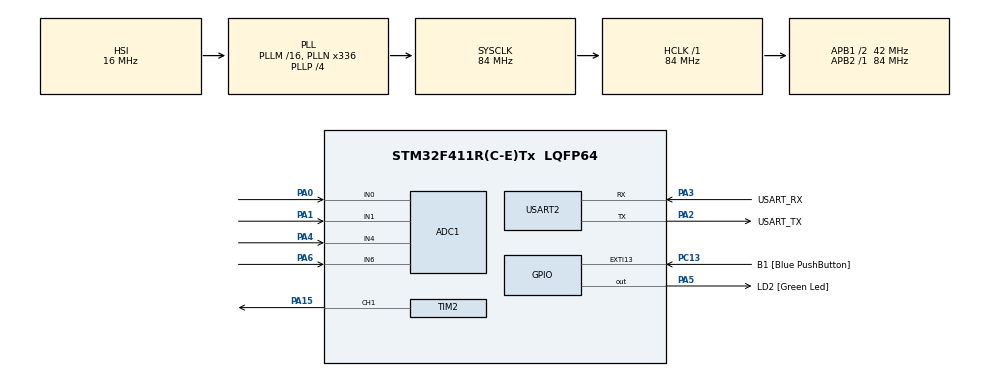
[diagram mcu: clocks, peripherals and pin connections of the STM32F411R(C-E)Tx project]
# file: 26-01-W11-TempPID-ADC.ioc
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ADC1.Channel-0\#ChannelRegularConversion=ADC_CHANNEL_6
ADC1.NbrOfConversionFlag=1
ADC1.Rank-0\#ChannelRegularConversion=1
ADC1.SamplingTime-0\#ChannelRegularConversion=ADC_SAMPLETIME_144CYCLES
ADC1.master=1
Mcu.Family=STM32F4
Mcu.Name=STM32F411R(C-E)Tx
Mcu.Package=LQFP64
NVIC.PriorityGroup=NVIC_PRIORITYGROUP_0
NVIC.USART2_IRQn=true\:0\:0\:true\:false\:true\:true\:true\:false
PA0-WKUP.Signal=ADCx_IN0
PA1.Signal=ADCx_IN1
PA13.GPIO_Label=TMS
PA13.Mode=Serial_Wire
PA13.Signal=SYS_JTMS-SWDIO
PA14.GPIO_Label=TCK
PA14.Mode=Serial_Wire
PA14.Signal=SYS_JTCK-SWCLK
PA15.Signal=S_TIM2_CH1_ETR
PA2.GPIO_Label=USART_TX
PA2.Mode=Asynchronous
PA2.Signal=USART2_TX
PA3.GPIO_Label=USART_RX
PA3.Mode=Asynchronous
PA3.Signal=USART2_RX
PA4.Signal=ADCx_IN4
PA5.GPIO_Label=LD2 [Green Led]
PA5.Signal=GPIO_Output
PA6.Signal=ADCx_IN6
PB3.GPIO_Label=SWO
PB3.Signal=SYS_JTDO-SWO
PC13-ANTI_TAMP.GPIO_Label=B1 [Blue PushButton]
PC13-ANTI_TAMP.GPIO_ModeDefaultEXTI=GPIO_MODE_IT_FALLING
PC13-ANTI_TAMP.Signal=GPXTI13
PC14-OSC32_IN.Mode=LSE-External-Oscillator
PC14-OSC32_IN.Signal=RCC_OSC32_IN
PC15-OSC32_OUT.Mode=LSE-External-Oscillator
PC15-OSC32_OUT.Signal=RCC_OSC32_OUT
PH0\ -\ OSC_IN.Mode=HSE-External-Clock-Source
PH0\ -\ OSC_IN.Signal=RCC_OSC_IN
PH1\ -\ OSC_OUT.Mode=HSE-External-Clock-Source
PH1\ -\ OSC_OUT.Signal=RCC_OSC_OUT
ProjectManager.HeapSize=0x200
ProjectManager.StackSize=0x400
ProjectManager.TargetToolchain=CMake
RCC.48MHZClocksFreq_Value=84000000
RCC.AHBFreq_Value=84000000
RCC.APB1CLKDivider=RCC_HCLK_DIV2
RCC.APB1Freq_Value=42000000
RCC.APB1TimFreq_Value=84000000
RCC.APB2Freq_Value=84000000
RCC.APB2TimFreq_Value=84000000
RCC.CortexFreq_Value=84000000
RCC.FLatency-AdvancedSettings=FLASH_LATENCY_2
RCC.HCLKFreq_Value=84000000
RCC.HSE_VALUE=8000000
RCC.HSI_VALUE=16000000
RCC.PLLN=336
RCC.PLLP=RCC_PLLP_DIV4
RCC.SYSCLKFreq_VALUE=84000000
RCC.SYSCLKSource=RCC_SYSCLKSOURCE_PLLCLK
RCC.VCOOutputFreq_Value=336000000
SH.ADCx_IN0.0=ADC1_IN0,IN0
SH.ADCx_IN1.0=ADC1_IN1,IN1
SH.ADCx_IN4.0=ADC1_IN4,IN4
SH.ADCx_IN6.0=ADC1_IN6,IN6
SH.S_TIM2_CH1_ETR.0=TIM2_CH1,PWM Generation1 CH1
TIM2.Channel-PWM\ Generation1\ CH1=TIM_CHANNEL_1
TIM2.Prescaler=8400-1
USART2.VirtualMode=VM_ASYNC
VP_TIM2_VS_ClockSourceINT.Mode=Internal
board=NUCLEO-F411RE

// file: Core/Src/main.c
/* USER CODE BEGIN Header */
/**
  * @file main.c
  * @brief TMP235 온도 측정, 부저 멜로디 재생, PID PWM 제어를 통합한 메인 애플리케이션
  * @date 2026-05-08
  * @author JeongWhan Lee
  *
  * @details
  * 본 파일은 STM32F411 기반 보드에서 다음 기능을 단일 루프 구조로 수행한다.
  * - USART2 명령 수신 및 명령어 파싱
  * - TIM2 PWM을 이용한 부저 출력 주파수 제어
  * - ADC1과 TMP235 센서를 이용한 온도 측정 및 이동 평균 필터 적용
  * - 목표 온도 기준 PID 제어값 계산 및 PWM 듀티 출력
  * - 현재 동작 상태를 텍스트 또는 CSV 형식으로 UART에 주기적으로 보고
  *
  * 동작 모드는 멜로디 재생, PID 제어, 온도 모니터링, 정지 상태로 구성되며,
  * UART 명령을 통해 모드 전환과 PID 계수/목표 온도 변경이 가능하다.
  *
  * @note 자동 생성 영역과 사용자 코드 영역이 혼합되어 있으므로,
  *       기능 변경 시 USER CODE 블록 보존 여부를 함께 확인해야 한다.
  */
/* USER CODE END Header */
#include "main.h"

/* USER CODE BEGIN Includes */
#include <ctype.h>
#include <stdio.h>
#include <string.h>

/* USER CODE END Includes */

/* USER CODE BEGIN PTD */
/**
  * @brief 애플리케이션 실행 모드 정의
  * @details 메인 루프에서 현재 어떤 작업을 수행할지 결정하는 상태값이다.
  */
typedef enum
{
  APP_MODE_IDLE = 0,
  APP_MODE_MELODY,
  APP_MODE_PID,
  APP_MODE_TEMP
} AppMode_t;

/* USER CODE END PTD */

/* USER CODE BEGIN PD */

/* 부저 재생 및 UART/ADC 처리에 사용되는 기본 상수 정의 */

#define BUZZER_TIMER_TICK_HZ 10000U
#define BUZZER_NOTE_MS       1000U
#define BUZZER_GAP_MS        100U
#define UART_CMD_BUF_LEN     64U
#define UART_RX_QUEUE_LEN    64U
#define ADC_MOVING_AVG_SAMPLES 8U

#define TMP235_OFFSET_V         0.5f
#define TMP235_SLOPE_V_PER_C    0.01f
#define ADC_VREF_V              3.3f
#define ADC_MAX_COUNT           4095.0f

#define PID_SETPOINT_DEFAULT_C  25.0f
#define PID_CONTROL_MS          50U
#define PID_PWM_FREQ_HZ         20U

/* USER CODE END PD */

ADC_HandleTypeDef hadc1;

TIM_HandleTypeDef htim2;

UART_HandleTypeDef huart2;

/* USER CODE BEGIN PV */
/* 상태 LED 점멸 주기 관리를 위한 기준 시각 */
uint32_t led_toggle_time = 0;
/* 도레미 3음 재생용 주파수 테이블 */
const uint16_t melody_freq_hz[3] = {262U, 294U, 330U};
/* 현재 재생 중인 음계 인덱스 */
uint8_t melody_index = 0;
/* 0: 음 출력 구간, 1: 음과 음 사이 공백 구간 */
uint8_t melody_phase = 0;
/* 마지막 멜로디 상태 전환 시각 */
uint32_t melody_tick = 0;
/* UART 인터럽트로 수신한 1바이트 임시 저장 버퍼 */
uint8_t uart_rx_byte = 0U;
/* 명령어 한 줄을 조합하기 위한 문자열 버퍼 */
char uart_cmd_buf[UART_CMD_BUF_LEN] = {0};
/* 현재 명령 버퍼에 저장된 문자 수 */
uint8_t uart_cmd_idx = 0U;
/* 인터럽트와 메인 루프 사이의 UART 수신 바이트 큐 */
volatile uint8_t uart_rx_queue[UART_RX_QUEUE_LEN] = {0};
volatile uint16_t uart_rx_q_head = 0U;
volatile uint16_t uart_rx_q_tail = 0U;
/* 큐가 가득 찼을 때 누락된 바이트 수 카운터 */
volatile uint32_t uart_rx_q_overflow = 0U;

/* 전원 인가 후 기본 동작은 멜로디 재생 모드로 시작한다. */
AppMode_t app_mode = APP_MODE_MELODY;
/* 현재 PWM 주기의 ARR 값을 저장하여 듀티 계산에 재사용한다. */
uint32_t pwm_arr_current = 0U;

/* PID 제어 관련 파라미터와 최근 계산 결과 저장 변수 */
float pid_setpoint_c = PID_SETPOINT_DEFAULT_C;
float pid_kp = 8.0f;
float pid_ki = 0.12f;
float pid_kd = 1.2f;
float pid_integral = 0.0f;
float pid_prev_error = 0.0f;
float pid_last_temp_c = 0.0f;
float pid_last_output = 0.0f;
uint16_t pid_last_adc_raw = 0U;
uint32_t pid_last_tick = 0U;
uint32_t pid_report_tick = 0U;
uint32_t temp_report_tick = 0U;
/* 0이면 사람이 읽기 쉬운 텍스트, 1이면 시리얼 플로터용 CSV 출력 */
uint8_t pid_cv_csv_mode = 0U;
/* USER CODE END PV */

void SystemClock_Config(void);
static void MX_GPIO_Init(void);
static void MX_USART2_UART_Init(void);
static void MX_ADC1_Init(void);
static void MX_TIM2_Init(void);
/* USER CODE BEGIN PFP */
static void Buzzer_SetFrequency(uint32_t freq_hz);
static void Buzzer_Stop(void);
static void UART_ProcessCommand(void);
static uint8_t UART_RxQueuePush(uint8_t data);
static uint8_t UART_RxQueuePop(uint8_t *data);
static void PWM_SetFrequency(uint32_t freq_hz);
static void PWM_SetDutyPercent(float duty_percent);
static uint16_t ADC_ReadChannel(uint32_t channel);
static float TMP235_ReadTempC(void);
static void EnterMelodyMode(void);
static void EnterPidMode(void);
static void EnterTempMode(void);
static void EnterIdleMode(void);
static void PID_Update(void);
static uint8_t PID_ParseSetpointCommand(const char *cmd, float *setpoint_out);
static uint8_t PID_ParseFloatToken(const char **p_inout, float *value_out);
static uint8_t PID_ParseCoeffCommand(const char *cmd,
                                     uint8_t *target_out,
                                     float *value_out,
                                     uint8_t *has_value_out,
                                     uint8_t *is_all_out,
                                     float *all_kp_out,
                                     float *all_ki_out,
                                     float *all_kd_out);
static const char *AppModeToString(AppMode_t mode);
static void UART_PrintCurrentStatus(void);
int __io_putchar(int ch);

/* USER CODE END PFP */

/* USER CODE BEGIN 0 */
/**
  * @brief 부저 출력 주파수를 설정한다.
  * @param freq_hz 출력 주파수 [Hz], 0이면 출력을 정지한다.
  * @details TIM2 PWM 주기를 갱신한 뒤 50% 듀티를 적용하여 사각파를 만든다.
  */
static void Buzzer_SetFrequency(uint32_t freq_hz)
{
  if (freq_hz == 0U)
  {
    Buzzer_Stop();
    return;
  }

  PWM_SetFrequency(freq_hz);
  PWM_SetDutyPercent(50.0f);
}

/**
  * @brief PWM 주파수를 설정한다.
  * @param freq_hz 목표 주파수 [Hz]
  * @details BUZZER_TIMER_TICK_HZ를 기준으로 ARR 값을 계산하고,
  *          타이머 카운터를 초기화하여 즉시 새로운 주파수를 반영한다.
  */
static void PWM_SetFrequency(uint32_t freq_hz)
{
  uint32_t arr;

  if (freq_hz == 0U)
  {
    return;
  }

  arr = (BUZZER_TIMER_TICK_HZ / freq_hz);
  if (arr > 0U)
  {
    arr -= 1U;
  }
  if (arr < 1U)
  {
    arr = 1U;
  }

  pwm_arr_current = arr;
  __HAL_TIM_SET_AUTORELOAD(&htim2, arr);
  __HAL_TIM_SET_COUNTER(&htim2, 0U);
  /* Update 이벤트를 강제로 발생시켜 새 ARR 값이 바로 적용되도록 한다. */
  (void)HAL_TIM_GenerateEvent(&htim2, TIM_EVENTSOURCE_UPDATE);
}

/**
  * @brief PWM 듀티비를 백분율 단위로 설정한다.
  * @param duty_percent 듀티비 [%]
  * @details 입력값을 0~100 범위로 제한한 뒤 CCR 값을 계산하여 PWM 출력 세기를 바꾼다.
  */
static void PWM_SetDutyPercent(float duty_percent)
{
  uint32_t compare;

  if (duty_percent < 0.0f)
  {
    duty_percent = 0.0f;
  }
  if (duty_percent > 100.0f)
  {
    duty_percent = 100.0f;
  }

  if (duty_percent >= 100.0f)
  {
    /* PWM 모드에서 CCR이 ARR보다 크면 출력이 계속 High 상태를 유지한다. */
    compare = pwm_arr_current + 1U;
  }
  else
  {
    /* ARR 범위에 맞는 CCR 값을 계산해 평균 출력 비율을 맞춘다. */
    compare = (uint32_t)(((float)(pwm_arr_current + 1U) * duty_percent) / 100.0f);
    if (compare > pwm_arr_current)
    {
      compare = pwm_arr_current;
    }
  }

  __HAL_TIM_SET_COMPARE(&htim2, TIM_CHANNEL_1, compare);
}

/**
  * @brief 부저 출력을 정지한다.
  * @details 주파수 설정은 유지하되 듀티를 0%로 만들어 실제 출력을 끈다.
  */
static void Buzzer_Stop(void)
{
  PWM_SetDutyPercent(0.0f);
}

/**
  * @brief printf 출력을 USART2로 리다이렉션한다.
  * @param ch 전송할 문자
  * @return 전송한 문자 값
  */
int __io_putchar(int ch)
{
  uint8_t c = (uint8_t)ch;
  (void)HAL_UART_Transmit(&huart2, &c, 1U, HAL_MAX_DELAY);
  return ch;
}

/**
  * @brief UART 수신 큐에 1바이트를 저장한다.
  * @param data 저장할 수신 데이터
  * @retval 1 저장 성공
  * @retval 0 큐 포화로 저장 실패
  */
static uint8_t UART_RxQueuePush(uint8_t data)
{
  uint16_t next = (uint16_t)((uart_rx_q_head + 1U) % UART_RX_QUEUE_LEN);

  if (next == uart_rx_q_tail)
  {
    uart_rx_q_overflow++;
    return 0U;
  }

  uart_rx_queue[uart_rx_q_head] = data;
  uart_rx_q_head = next;
  return 1U;
}

/**
  * @brief UART 수신 큐에서 1바이트를 꺼낸다.
  * @param data 꺼낸 데이터를 저장할 포인터
  * @retval 1 데이터 존재
  * @retval 0 큐 비어 있음
  */
static uint8_t UART_RxQueuePop(uint8_t *data)
{
  if (uart_rx_q_head == uart_rx_q_tail)
  {
    return 0U;
  }

  *data = uart_rx_queue[uart_rx_q_tail];
  uart_rx_q_tail = (uint16_t)((uart_rx_q_tail + 1U) % UART_RX_QUEUE_LEN);
  return 1U;
}

/**
  * @brief 지정한 ADC 채널을 1회 변환하여 raw 값을 읽는다.
  * @param channel 읽을 ADC 채널 번호
  * @return 12비트 ADC raw 값, 실패 시 0
  */
static uint16_t ADC_ReadChannel(uint32_t channel)
{
  ADC_ChannelConfTypeDef sConfig = {0};

  sConfig.Channel = channel;
  sConfig.Rank = 1;
  sConfig.SamplingTime = ADC_SAMPLETIME_144CYCLES;
  if (HAL_ADC_ConfigChannel(&hadc1, &sConfig) != HAL_OK)
  {
    return 0U;
  }

  if (HAL_ADC_Start(&hadc1) != HAL_OK)
  {
    return 0U;
  }

  if (HAL_ADC_PollForConversion(&hadc1, 5U) != HAL_OK)
  {
    (void)HAL_ADC_Stop(&hadc1);
    return 0U;
  }

  {
    uint16_t raw = (uint16_t)HAL_ADC_GetValue(&hadc1);
    (void)HAL_ADC_Stop(&hadc1);
    return raw;
  }
}

/**
  * @brief TMP235 센서 전압을 온도로 변환한다.
  * @return 섭씨 온도 값
  * @details 최근 ADC 샘플에 대해 이동 평균을 적용하여 노이즈를 줄인 뒤,
  *          TMP235의 오프셋과 기울기를 사용해 전압을 온도로 변환한다.
  */
static float TMP235_ReadTempC(void)
{
  static uint16_t adc_hist[ADC_MOVING_AVG_SAMPLES] = {0U};
  static uint32_t adc_sum = 0U;
  static uint8_t adc_idx = 0U;
  static uint8_t adc_count = 0U;
  uint16_t raw = ADC_ReadChannel(ADC_CHANNEL_6);
  uint16_t avg_raw;
  float voltage;

  if (adc_count < ADC_MOVING_AVG_SAMPLES)
  {
    /* 초기 구간에서는 샘플 개수가 충분하지 않으므로 누적 개수만큼 평균을 낸다. */
    adc_sum += raw;
    adc_hist[adc_idx] = raw;
    adc_idx = (uint8_t)((adc_idx + 1U) % ADC_MOVING_AVG_SAMPLES);
    adc_count++;
    avg_raw = (uint16_t)(adc_sum / adc_count);
  }
  else
  {
    /* 버퍼가 가득 찬 이후에는 가장 오래된 샘플을 빼고 새 샘플을 더한다. */
    adc_sum -= adc_hist[adc_idx];
    adc_hist[adc_idx] = raw;
    adc_sum += raw;
    adc_idx = (uint8_t)((adc_idx + 1U) % ADC_MOVING_AVG_SAMPLES);
    avg_raw = (uint16_t)(adc_sum / ADC_MOVING_AVG_SAMPLES);
  }

  pid_last_adc_raw = avg_raw;
  voltage = ((float)avg_raw * ADC_VREF_V) / ADC_MAX_COUNT;
  return (voltage - TMP235_OFFSET_V) / TMP235_SLOPE_V_PER_C;
}

/**
  * @brief 멜로디 재생 모드로 진입한다.
  * @details 인덱스와 위상 상태를 초기화하고 첫 음을 즉시 출력한다.
  */
static void EnterMelodyMode(void)
{
  app_mode = APP_MODE_MELODY;
  melody_index = 0U;
  melody_phase = 0U;
  melody_tick = HAL_GetTick();
  Buzzer_SetFrequency(melody_freq_hz[melody_index]);
}

/**
  * @brief PID 제어 모드로 진입한다.
  * @details 적분항과 이전 오차를 초기화하여 모드 전환 직후의 과도 응답을 줄인다.
  */
static void EnterPidMode(void)
{
  app_mode = APP_MODE_PID;
  pid_integral = 0.0f;
  pid_prev_error = 0.0f;
  pid_last_tick = HAL_GetTick();
  pid_report_tick = pid_last_tick;
  PWM_SetFrequency(PID_PWM_FREQ_HZ);
  PWM_SetDutyPercent(0.0f);
}

/**
  * @brief 온도 모니터링 모드로 진입한다.
  * @details 부저 출력을 끄고 일정 주기로 ADC raw 값과 온도를 UART로 보고한다.
  */
static void EnterTempMode(void)
{
  app_mode = APP_MODE_TEMP;
  Buzzer_Stop();
  PWM_SetDutyPercent(0.0f);
  temp_report_tick = HAL_GetTick();
}

/**
  * @brief 출력 정지 모드로 전환한다.
  * @details 부저 및 PWM 출력을 멈추고 명령 대기 상태로 유지한다.
  */
static void EnterIdleMode(void)
{
  app_mode = APP_MODE_IDLE;
  Buzzer_Stop();
}

/**
  * @brief PID 제어를 1회 수행한다.
  * @details 현재 온도를 읽고 오차, 적분항, 미분항을 계산하여 PWM 듀티를 갱신한다.
  */
static void PID_Update(void)
{
  float error;
  float derivative;
  float output;
  const float dt = ((float)PID_CONTROL_MS) / 1000.0f;

  pid_last_temp_c = TMP235_ReadTempC();
  error = pid_setpoint_c - pid_last_temp_c;

  /* 적분항이 과도하게 커지는 것을 막기 위해 상하한을 둔다. */
  pid_integral += error * dt;
  if (pid_integral > 100.0f)
  {
    pid_integral = 100.0f;
  }
  else if (pid_integral < -100.0f)
  {
    pid_integral = -100.0f;
  }

  derivative = (error - pid_prev_error) / dt;
  output = (pid_kp * error) + (pid_ki * pid_integral) + (pid_kd * derivative);

  /* 실제 PWM 출력은 퍼센트 범위를 벗어날 수 없으므로 0~100으로 제한한다. */
  if (output < 0.0f)
  {
    output = 0.0f;
  }
  if (output > 100.0f)
  {
    output = 100.0f;
  }

  pid_last_output = output;
  PWM_SetDutyPercent(output);
  pid_prev_error = error;
}

/**
  * @brief setpoint 명령 문자열에서 목표 온도를 파싱한다.
  * @param cmd 명령 문자열
  * @param setpoint_out 파싱 결과를 저장할 포인터
  * @retval 1 파싱 성공
  * @retval 0 형식 오류 또는 범위 초과
  */
static uint8_t PID_ParseSetpointCommand(const char *cmd, float *setpoint_out)
{
  const char *p = cmd;
  int sign = 1;
  int32_t int_part = 0;
  int32_t frac_part = 0;
  int32_t frac_div = 1;
  float value;

  if ((p[0] != 's') || (p[1] != 'p'))
  {
    return 0U;
  }
  p += 2;

  while ((*p == ' ') || (*p == '\t') || (*p == '='))
  {
    p++;
  }

  if ((*p == '+') || (*p == '-'))
  {
    if (*p == '-')
    {
      sign = -1;
    }
    p++;
  }

  if (!isdigit((unsigned char)*p))
  {
    return 0U;
  }

  while (isdigit((unsigned char)*p))
  {
    int_part = (int_part * 10) + (int32_t)(*p - '0');
    p++;
  }

  if (*p == '.')
  {
    p++;
    while (isdigit((unsigned char)*p) && (frac_div < 1000))
    {
      frac_part = (frac_part * 10) + (int32_t)(*p - '0');
      frac_div *= 10;
      p++;
    }
  }

  while ((*p == ' ') || (*p == '\t'))
  {
    p++;
  }

  if (*p != '\0')
  {
    return 0U;
  }

  value = (float)sign * ((float)int_part + ((float)frac_part / (float)frac_div));
  if ((value < 0.0f) || (value > 100.0f))
  {
    return 0U;
  }

  *setpoint_out = value;
  return 1U;
}

/**
  * @brief 문자열 끝까지 소비하는 단일 실수 토큰을 파싱한다.
  * @param p_inout 현재 파싱 위치 포인터의 주소
  * @param value_out 파싱된 실수 저장 위치
  * @retval 1 파싱 성공
  * @retval 0 파싱 실패
  */
static uint8_t PID_ParseFloatToken(const char **p_inout, float *value_out)
{
  const char *p = *p_inout;
  int sign = 1;
  int32_t int_part = 0;
  int32_t frac_part = 0;
  int32_t frac_div = 1;
  float value;

  if ((*p == '+') || (*p == '-'))
  {
    if (*p == '-')
    {
      sign = -1;
    }
    p++;
  }

  if (!isdigit((unsigned char)*p))
  {
    return 0U;
  }

  while (isdigit((unsigned char)*p))
  {
    int_part = (int_part * 10) + (int32_t)(*p - '0');
    p++;
  }

  if (*p == '.')
  {
    p++;
    while (isdigit((unsigned char)*p) && (frac_div < 10000))
    {
      frac_part = (frac_part * 10) + (int32_t)(*p - '0');
      frac_div *= 10;
      p++;
    }
  }

  while ((*p == ' ') || (*p == '\t'))
  {
    p++;
  }

  if (*p != '\0')
  {
    return 0U;
  }

  value = (float)sign * ((float)int_part + ((float)frac_part / (float)frac_div));
  if ((value < 0.0f) || (value > 1000.0f))
  {
    return 0U;
  }

  *p_inout = p;
  *value_out = value;
  return 1U;
}

/**
  * @brief coeff 명령 문자열을 해석하여 PID 계수 변경 요청으로 변환한다.
  * @param cmd 전체 명령 문자열
  * @param target_out 개별 계수 대상 결과 저장 포인터
  * @param value_out 개별 계수 값 저장 포인터
  * @param has_value_out 값 포함 여부 저장 포인터
  * @param is_all_out all 명령 여부 저장 포인터
  * @param all_kp_out all 명령의 kp 저장 포인터
  * @param all_ki_out all 명령의 ki 저장 포인터
  * @param all_kd_out all 명령의 kd 저장 포인터
  * @retval 1 명령 형식 유효
  * @retval 0 명령 형식 오류
  */
static uint8_t PID_ParseCoeffCommand(const char *cmd,
                                     uint8_t *target_out,
                                     float *value_out,
                                     uint8_t *has_value_out,
                                     uint8_t *is_all_out,
                                     float *all_kp_out,
                                     float *all_ki_out,
                                     float *all_kd_out)
{
  const char *p = cmd;
  const char *name_start;
  int name_len = 0;

  if ((p[0] != 'c') || (p[1] != 'o') || (p[2] != 'e') || (p[3] != 'f') || (p[4] != 'f'))
  {
    return 0U;
  }
  p += 5;

  while ((*p == ' ') || (*p == '\t'))
  {
    p++;
  }

  *is_all_out = 0U;
  if (*p == '\0')
  {
    *target_out = 0U;
    *has_value_out = 0U;
    return 1U;
  }

  name_start = p;
  while (isalpha((unsigned char)*p))
  {
    name_len++;
    p++;
  }

  if ((name_len == 2) && (name_start[0] == 'k') && (name_start[1] == 'p'))
  {
    *target_out = 1U;
  }
  else if ((name_len == 2) && (name_start[0] == 'k') && (name_start[1] == 'i'))
  {
    *target_out = 2U;
  }
  else if ((name_len == 2) && (name_start[0] == 'k') && (name_start[1] == 'd'))
  {
    *target_out = 3U;
  }
  else if ((name_len == 3) && (name_start[0] == 'a') && (name_start[1] == 'l') && (name_start[2] == 'l'))
  {
    *is_all_out = 1U;
    *target_out = 0U;
  }
  else
  {
    return 0U;
  }

  while ((*p == ' ') || (*p == '\t') || (*p == '='))
  {
    p++;
  }

  if (*is_all_out != 0U)
  {
    if (PID_ParseFloatToken(&p, all_kp_out) == 0U)
    {
      return 0U;
    }

    while ((*p == ' ') || (*p == '\t'))
    {
      p++;
    }
    if (PID_ParseFloatToken(&p, all_ki_out) == 0U)
    {
      return 0U;
    }

    while ((*p == ' ') || (*p == '\t'))
    {
      p++;
    }
    if (PID_ParseFloatToken(&p, all_kd_out) == 0U)
    {
      return 0U;
    }

    while ((*p == ' ') || (*p == '\t'))
    {
      p++;
    }

    if (*p != '\0')
    {
      return 0U;
    }

    *has_value_out = 1U;
    return 1U;
  }

  if (*p == '\0')
  {
    *has_value_out = 0U;
    return 1U;
  }

  if (PID_ParseFloatToken(&p, value_out) == 0U)
  {
    return 0U;
  }

  while ((*p == ' ') || (*p == '\t'))
  {
    p++;
  }

  if (*p != '\0')
  {
    return 0U;
  }

  *has_value_out = 1U;
  return 1U;
}

/**
  * @brief 내부 모드 열거값을 사람이 읽을 수 있는 문자열로 변환한다.
  * @param mode 현재 앱 모드
  * @return 모드 이름 문자열
  */
static const char *AppModeToString(AppMode_t mode)
{
  switch (mode)
  {
    case APP_MODE_IDLE:
      return "IDLE";
    case APP_MODE_MELODY:
      return "MELODY";
    case APP_MODE_PID:
      return "PID";
    case APP_MODE_TEMP:
      return "TEMP";
    default:
      return "UNKNOWN";
  }
}

/**
  * @brief 현재 PID 및 모드 상태를 UART로 출력한다.
  * @details help 명령 호출 시 사용되며, 현재 설정값과 최근 측정값을 함께 보여준다.
  */
static void UART_PrintCurrentStatus(void)
{
  int32_t sp_x10 = (int32_t)(pid_setpoint_c * 10.0f);
  int32_t temp_x100 = (int32_t)(pid_last_temp_c * 100.0f);
  int32_t out_x10 = (int32_t)(pid_last_output * 10.0f);

  printf("=== STATUS ===\r\n");
  printf("MODE: %s\r\n", AppModeToString(app_mode));
  printf("SP: %ld.%01ldC\r\n",
         (long)(sp_x10 / 10),
         (long)(sp_x10 < 0 ? -(sp_x10 % 10) : (sp_x10 % 10)));
  printf("LAST TEMP: %ld.%02ldC\r\n",
         (long)(temp_x100 / 100),
         (long)(temp_x100 < 0 ? -(temp_x100 % 100) : (temp_x100 % 100)));
  printf("LAST ADC RAW: %u\r\n", (unsigned int)pid_last_adc_raw);
  printf("LAST PWM OUT: %ld.%01ld%%\r\n",
         (long)(out_x10 / 10),
         (long)(out_x10 < 0 ? -(out_x10 % 10) : (out_x10 % 10)));
}

/**
  * @brief UART 수신 큐를 소비하며 명령어를 해석하고 실행한다.
  * @details 줄바꿈 문자를 기준으로 한 줄 명령을 확정한 뒤,
  *          모드 전환, PID 설정 변경, 도움말 출력 등을 처리한다.
  */
static void UART_ProcessCommand(void)
{
  uint8_t data;

  while (UART_RxQueuePop(&data) != 0U)
  {
    if ((data == '\r') || (data == '\n'))
    {
      if (uart_cmd_idx == 0U)
      {
        continue;
      }

      uart_cmd_buf[uart_cmd_idx] = '\0';

      if (strcmp(uart_cmd_buf, "stop") == 0)
      {
        /* 모든 출력 동작을 정지하고 대기 상태로 전환한다. */
        EnterIdleMode();
        printf("Output stopped\r\n");
      }
      else if (strcmp(uart_cmd_buf, "start") == 0)
      {
        /* 기본 데모 동작인 멜로디 재생을 시작한다. */
        EnterMelodyMode();
        printf("Melody mode started\r\n");
      }
      else if (strcmp(uart_cmd_buf, "temp") == 0)
      {
        /* PID 없이 센서 값만 주기적으로 관찰하는 모드이다. */
        EnterTempMode();
        printf("Temp monitor mode. RAW and temperature every 50ms (20Hz).\r\n");
      }
      else if (strcmp(uart_cmd_buf, "pid") == 0)
      {
        int32_t sp_x10;
        EnterPidMode();
        sp_x10 = (int32_t)(pid_setpoint_c * 10.0f);
        printf("PID mode started (SP=%ld.%01ldC)\r\n", (long)(sp_x10 / 10), (long)(sp_x10 < 0 ? -(sp_x10 % 10) : (sp_x10 % 10)));
      }
      else if ((strncmp(uart_cmd_buf, "sp", 2) == 0) && ((uart_cmd_buf[2] == '\0') || (uart_cmd_buf[2] == ' ') || (uart_cmd_buf[2] == '\t') || (uart_cmd_buf[2] == '=')))
      {
        float new_setpoint;
        int32_t sp_x10;

        if (PID_ParseSetpointCommand(uart_cmd_buf, &new_setpoint) != 0U)
        {
          /* 목표 온도 변경 시 적분항과 이전 오차를 함께 초기화해 잔류 오차를 줄인다. */
          pid_setpoint_c = new_setpoint;
          pid_integral = 0.0f;
          pid_prev_error = 0.0f;
          sp_x10 = (int32_t)(pid_setpoint_c * 10.0f);
          printf("SP updated: %ld.%01ldC\r\n", (long)(sp_x10 / 10), (long)(sp_x10 < 0 ? -(sp_x10 % 10) : (sp_x10 % 10)));
        }
        else
        {
          /* 파싱 실패 시 허용 형식을 명확하게 안내한다. */
          printf("Usage: sp <tempC> (0~100)\r\n");
        }
      }
      else if ((strncmp(uart_cmd_buf, "coeff", 5) == 0) && ((uart_cmd_buf[5] == '\0') || (uart_cmd_buf[5] == ' ') || (uart_cmd_buf[5] == '\t') || (uart_cmd_buf[5] == '=')))
      {
        uint8_t coeff_target = 0U;
        uint8_t has_value = 0U;
        uint8_t coeff_is_all = 0U;
        float coeff_value = 0.0f;
        float coeff_all_kp = 0.0f;
        float coeff_all_ki = 0.0f;
        float coeff_all_kd = 0.0f;
        int32_t kp_x100;
        int32_t ki_x100;
        int32_t kd_x100;

        if (PID_ParseCoeffCommand(uart_cmd_buf,
                                  &coeff_target,
                                  &coeff_value,
                                  &has_value,
                                  &coeff_is_all,
                                  &coeff_all_kp,
                                  &coeff_all_ki,
                                  &coeff_all_kd) == 0U)
        {
          printf("Usage: coeff | coeff <kp|ki|kd> [value] | coeff all <kp> <ki> <kd> (0~1000)\r\n");
        }
        else
        {
          if (has_value != 0U)
          {
            if (app_mode == APP_MODE_PID)
            {
              /* 제어 중 파라미터 급변을 막기 위해 PID 모드에서는 계수 변경을 제한한다. */
              printf("Cannot change coeff in PID mode. Change mode first (stop/start/temp).\r\n");
            }
            else if (coeff_is_all != 0U)
            {
              pid_kp = coeff_all_kp;
              pid_ki = coeff_all_ki;
              pid_kd = coeff_all_kd;
              pid_integral = 0.0f;
              pid_prev_error = 0.0f;
              printf("PID coeff updated\r\n");
            }
            else if (coeff_target == 1U)
            {
              pid_kp = coeff_value;
              pid_integral = 0.0f;
              pid_prev_error = 0.0f;
              printf("PID coeff updated\r\n");
            }
            else if (coeff_target == 2U)
            {
              pid_ki = coeff_value;
              pid_integral = 0.0f;
              pid_prev_error = 0.0f;
              printf("PID coeff updated\r\n");
            }
            else if (coeff_target == 3U)
            {
              pid_kd = coeff_value;
              pid_integral = 0.0f;
              pid_prev_error = 0.0f;
              printf("PID coeff updated\r\n");
            }
          }

          kp_x100 = (int32_t)(pid_kp * 100.0f);
          ki_x100 = (int32_t)(pid_ki * 100.0f);
          kd_x100 = (int32_t)(pid_kd * 100.0f);
          printf("COEFF KP=%ld.%02ld KI=%ld.%02ld KD=%ld.%02ld\r\n",
                 (long)(kp_x100 / 100),
                 (long)(kp_x100 < 0 ? -(kp_x100 % 100) : (kp_x100 % 100)),
                 (long)(ki_x100 / 100),
                 (long)(ki_x100 < 0 ? -(ki_x100 % 100) : (ki_x100 % 100)),
                 (long)(kd_x100 / 100),
                 (long)(kd_x100 < 0 ? -(kd_x100 % 100) : (kd_x100 % 100)));
        }
      }
      else if ((strncmp(uart_cmd_buf, "cv", 2) == 0) && ((uart_cmd_buf[2] == '\0') || (uart_cmd_buf[2] == ' ') || (uart_cmd_buf[2] == '\t') || (uart_cmd_buf[2] == '=')))
      {
        const char *p = &uart_cmd_buf[2];

        while ((*p == ' ') || (*p == '\t') || (*p == '='))
        {
          p++;
        }

        if (*p == '\0')
        {
          printf("CV mode: %s (off=text, on=csv)\r\n", (pid_cv_csv_mode != 0U) ? "on" : "off");
        }
        else if ((strcmp(p, "on") == 0) || (strcmp(p, "0n") == 0))
        {
          pid_cv_csv_mode = 1U;
          printf("CV mode set: on (PID report in CSV for serial plotter)\r\n");
        }
        else if (strcmp(p, "off") == 0)
        {
          pid_cv_csv_mode = 0U;
          printf("CV mode set: off (PID report in text)\r\n");
        }
        else
        {
          printf("Usage: cv=on/off (or cv on/off)\r\n");
        }
      }
      else if (strcmp(uart_cmd_buf, "help") == 0)
      {
        printf("Commands: start / stop / temp / pid / sp <tempC> / coeff / cv=on/off / help\r\n");
        printf("PID coeff: coeff, coeff kp <v>, coeff ki <v>, coeff kd <v>, coeff all <kp> <ki> <kd>\r\n");
        printf("PID CV: cv=off(text), cv=on(csv for plotter)\r\n");
        UART_PrintCurrentStatus();
      }
      else
      {
        printf("Unknown cmd: %s\r\n", uart_cmd_buf);
      }

      uart_cmd_idx = 0U;
      continue;
    }

    if (uart_cmd_idx < (UART_CMD_BUF_LEN - 1U))
    {
      /* 명령 비교를 단순화하기 위해 모두 소문자로 정규화해서 저장한다. */
      uart_cmd_buf[uart_cmd_idx++] = (char)tolower((int)data);
    }
    else
    {
      /* 버퍼를 넘는 긴 명령은 폐기하고 다음 줄 입력을 기다린다. */
      uart_cmd_idx = 0U;
    }
  }
}

/* USER CODE END 0 */

/**
  * @brief 애플리케이션 진입점
  * @retval int 사용하지 않음
  * @details HAL 및 주변장치를 초기화한 뒤 무한 루프에서
  *          LED 상태 표시, UART 명령 처리, 멜로디 재생, 온도 측정,
  *          PID 제어와 UART 보고를 주기적으로 수행한다.
  */
int main(void)
{

  /* MCU Configuration--------------------------------------------------------*/

  /* Reset of all peripherals, Initializes the Flash interface and the Systick. */
  HAL_Init();

  /* Configure the system clock */
  SystemClock_Config();

  /* Initialize all configured peripherals */
  MX_GPIO_Init();
  MX_USART2_UART_Init();
  MX_ADC1_Init();
  MX_TIM2_Init();
  /* USER CODE BEGIN 2 */
  /* TIM2 PWM 출력을 시작한 뒤 기본 모드로 멜로디 재생을 활성화한다. */
  HAL_TIM_PWM_Start(&htim2, TIM_CHANNEL_1);
  EnterMelodyMode();
  /* UART는 인터럽트 기반 1바이트 수신을 계속 재장전하며 명령 큐를 채운다. */
  (void)HAL_UART_Receive_IT(&huart2, &uart_rx_byte, 1U);
  printf("USART2 ready. Commands: start / stop / temp / pid / sp <tempC> / coeff / cv=on/off / help\r\n");

  /* USER CODE END 2 */

  /* Infinite loop */
  while (1)
  {

    /* USER CODE BEGIN 3 */
    // 500ms마다 LED 토글
    if (HAL_GetTick() - led_toggle_time >= 500)
    {
      HAL_GPIO_TogglePin(LD2_GPIO_Port, LD2_Pin);
      led_toggle_time = HAL_GetTick();
    }

      /* 수신된 UART 바이트를 조합하여 명령을 처리한다. */
    UART_ProcessCommand();

    if ((app_mode == APP_MODE_MELODY) && (melody_phase == 0U) && (HAL_GetTick() - melody_tick >= BUZZER_NOTE_MS))
    {
        /* 한 음의 재생 시간이 끝나면 잠깐 정지하여 음 사이를 구분한다. */
      Buzzer_Stop();
      melody_phase = 1U;
      melody_tick = HAL_GetTick();
    }
    else if ((app_mode == APP_MODE_MELODY) && (melody_phase == 1U) && (HAL_GetTick() - melody_tick >= BUZZER_GAP_MS))
    {
        /* 공백 시간이 끝나면 다음 음계로 넘어가 반복 재생한다. */
      melody_index = (uint8_t)((melody_index + 1U) % 3U);
      Buzzer_SetFrequency(melody_freq_hz[melody_index]);
      melody_phase = 0U;
      melody_tick = HAL_GetTick();
    }

    if ((app_mode == APP_MODE_TEMP) && (HAL_GetTick() - temp_report_tick >= PID_CONTROL_MS))
    {
      float temp_c;
      int32_t temp_x100;

      /* 온도 모니터링 모드에서는 일정 주기로 센서값만 읽어 UART로 전송한다. */
      temp_report_tick = HAL_GetTick();
      temp_c = TMP235_ReadTempC();
      temp_x100 = (int32_t)(temp_c * 100.0f);
      printf("TEMP RAW=%u T=%ld.%02ldC\r\n",
             (unsigned int)pid_last_adc_raw,
             (long)(temp_x100 / 100),
             (long)(temp_x100 < 0 ? -(temp_x100 % 100) : (temp_x100 % 100)));
    }

    if ((app_mode == APP_MODE_PID) && (HAL_GetTick() - pid_last_tick >= PID_CONTROL_MS))
    {
      /* PID 제어 주기마다 현재 온도를 기반으로 새 출력값을 계산한다. */
      pid_last_tick = HAL_GetTick();
      PID_Update();
    }

    if ((app_mode == APP_MODE_PID) && (HAL_GetTick() - pid_report_tick >= PID_CONTROL_MS))
    {
      int32_t temp_x100;
      int32_t sp_x10;
      int32_t out_x10;

      pid_report_tick = HAL_GetTick();
      temp_x100 = (int32_t)(pid_last_temp_c * 100.0f);
      sp_x10 = (int32_t)(pid_setpoint_c * 10.0f);
      out_x10 = (int32_t)(pid_last_output * 10.0f);

      if (pid_cv_csv_mode != 0U)
      {
        /* CSV 형식은 시리얼 플로터나 외부 로깅 도구에서 바로 사용하기 쉽다. */
        printf("%u,%ld.%02ld,%ld.%01ld,%ld.%01ld\r\n",
               (unsigned int)pid_last_adc_raw,
               (long)(temp_x100 / 100),
               (long)(temp_x100 < 0 ? -(temp_x100 % 100) : (temp_x100 % 100)),
               (long)(sp_x10 / 10),
               (long)(sp_x10 < 0 ? -(sp_x10 % 10) : (sp_x10 % 10)),
               (long)(out_x10 / 10),
               (long)(out_x10 < 0 ? -(out_x10 % 10) : (out_x10 % 10)));
      }
      else
      {
        /* 사람이 직접 확인할 때는 항목명을 포함한 텍스트 형식이 더 읽기 쉽다. */
        printf("PID RAW=%u T=%ld.%02ldC SP=%ld.%01ldC OUT=%ld.%01ld%%\r\n",
               (unsigned int)pid_last_adc_raw,
               (long)(temp_x100 / 100),
               (long)(temp_x100 < 0 ? -(temp_x100 % 100) : (temp_x100 % 100)),
               (long)(sp_x10 / 10),
               (long)(sp_x10 < 0 ? -(sp_x10 % 10) : (sp_x10 % 10)),
               (long)(out_x10 / 10),
               (long)(out_x10 < 0 ? -(out_x10 % 10) : (out_x10 % 10)));
      }
    }
  }
  /* USER CODE END 3 */
}

void SystemClock_Config(void)
{
  RCC_OscInitTypeDef RCC_OscInitStruct = {0};
  RCC_ClkInitTypeDef RCC_ClkInitStruct = {0};

  /** Configure the main internal regulator output voltage
  */
  __HAL_RCC_PWR_CLK_ENABLE();
  __HAL_PWR_VOLTAGESCALING_CONFIG(PWR_REGULATOR_VOLTAGE_SCALE1);

  /** Initializes the RCC Oscillators according to the specified parameters
  * in the RCC_OscInitTypeDef structure.
  */
  RCC_OscInitStruct.OscillatorType = RCC_OSCILLATORTYPE_HSI;
  RCC_OscInitStruct.HSIState = RCC_HSI_ON;
  RCC_OscInitStruct.HSICalibrationValue = RCC_HSICALIBRATION_DEFAULT;
  RCC_OscInitStruct.PLL.PLLState = RCC_PLL_ON;
  RCC_OscInitStruct.PLL.PLLSource = RCC_PLLSOURCE_HSI;
  RCC_OscInitStruct.PLL.PLLM = 16;
  RCC_OscInitStruct.PLL.PLLN = 336;
  RCC_OscInitStruct.PLL.PLLP = RCC_PLLP_DIV4;
  RCC_OscInitStruct.PLL.PLLQ = 4;
  if (HAL_RCC_OscConfig(&RCC_OscInitStruct) != HAL_OK)
  {
    Error_Handler();
  }

  /** Initializes the CPU, AHB and APB buses clocks
  */
  RCC_ClkInitStruct.ClockType = RCC_CLOCKTYPE_HCLK|RCC_CLOCKTYPE_SYSCLK
                              |RCC_CLOCKTYPE_PCLK1|RCC_CLOCKTYPE_PCLK2;
  RCC_ClkInitStruct.SYSCLKSource = RCC_SYSCLKSOURCE_PLLCLK;
  RCC_ClkInitStruct.AHBCLKDivider = RCC_SYSCLK_DIV1;
  RCC_ClkInitStruct.APB1CLKDivider = RCC_HCLK_DIV2;
  RCC_ClkInitStruct.APB2CLKDivider = RCC_HCLK_DIV1;

  if (HAL_RCC_ClockConfig(&RCC_ClkInitStruct, FLASH_LATENCY_2) != HAL_OK)
  {
    Error_Handler();
  }
}

static void MX_ADC1_Init(void)
{

  ADC_ChannelConfTypeDef sConfig = {0};

  /** Configure the global features of the ADC (Clock, Resolution, Data Alignment and number of conversion)
  */
  hadc1.Instance = ADC1;
  hadc1.Init.ClockPrescaler = ADC_CLOCK_SYNC_PCLK_DIV4;
  hadc1.Init.Resolution = ADC_RESOLUTION_12B;
  hadc1.Init.ScanConvMode = DISABLE;
  hadc1.Init.ContinuousConvMode = DISABLE;
  hadc1.Init.DiscontinuousConvMode = DISABLE;
  hadc1.Init.ExternalTrigConvEdge = ADC_EXTERNALTRIGCONVEDGE_NONE;
  hadc1.Init.ExternalTrigConv = ADC_SOFTWARE_START;
  hadc1.Init.DataAlign = ADC_DATAALIGN_RIGHT;
  hadc1.Init.NbrOfConversion = 1;
  hadc1.Init.DMAContinuousRequests = DISABLE;
  hadc1.Init.EOCSelection = ADC_EOC_SINGLE_CONV;
  if (HAL_ADC_Init(&hadc1) != HAL_OK)
  {
    Error_Handler();
  }

  /** Configure for the selected ADC regular channel its corresponding rank in the sequencer and its sample time.
  */
  sConfig.Channel = ADC_CHANNEL_6;
  sConfig.Rank = 1;
  sConfig.SamplingTime = ADC_SAMPLETIME_144CYCLES;
  if (HAL_ADC_ConfigChannel(&hadc1, &sConfig) != HAL_OK)
  {
    Error_Handler();
  }

}

static void MX_TIM2_Init(void)
{

  TIM_ClockConfigTypeDef sClockSourceConfig = {0};
  TIM_MasterConfigTypeDef sMasterConfig = {0};
  TIM_OC_InitTypeDef sConfigOC = {0};

  htim2.Instance = TIM2;
  htim2.Init.Prescaler = 8400-1;
  htim2.Init.CounterMode = TIM_COUNTERMODE_UP;
  htim2.Init.Period = 4294967295;
  htim2.Init.ClockDivision = TIM_CLOCKDIVISION_DIV1;
  htim2.Init.AutoReloadPreload = TIM_AUTORELOAD_PRELOAD_DISABLE;
  if (HAL_TIM_Base_Init(&htim2) != HAL_OK)
  {
    Error_Handler();
  }
  sClockSourceConfig.ClockSource = TIM_CLOCKSOURCE_INTERNAL;
  if (HAL_TIM_ConfigClockSource(&htim2, &sClockSourceConfig) != HAL_OK)
  {
    Error_Handler();
  }
  if (HAL_TIM_PWM_Init(&htim2) != HAL_OK)
  {
    Error_Handler();
  }
  sMasterConfig.MasterOutputTrigger = TIM_TRGO_RESET;
  sMasterConfig.MasterSlaveMode = TIM_MASTERSLAVEMODE_DISABLE;
  if (HAL_TIMEx_MasterConfigSynchronization(&htim2, &sMasterConfig) != HAL_OK)
  {
    Error_Handler();
  }
  sConfigOC.OCMode = TIM_OCMODE_PWM1;
  sConfigOC.Pulse = 0;
  sConfigOC.OCPolarity = TIM_OCPOLARITY_HIGH;
  sConfigOC.OCFastMode = TIM_OCFAST_DISABLE;
  if (HAL_TIM_PWM_ConfigChannel(&htim2, &sConfigOC, TIM_CHANNEL_1) != HAL_OK)
  {
    Error_Handler();
  }
  HAL_TIM_MspPostInit(&htim2);

}

static void MX_USART2_UART_Init(void)
{

  huart2.Instance = USART2;
  huart2.Init.BaudRate = 115200;
  huart2.Init.WordLength = UART_WORDLENGTH_8B;
  huart2.Init.StopBits = UART_STOPBITS_1;
  huart2.Init.Parity = UART_PARITY_NONE;
  huart2.Init.Mode = UART_MODE_TX_RX;
  huart2.Init.HwFlowCtl = UART_HWCONTROL_NONE;
  huart2.Init.OverSampling = UART_OVERSAMPLING_16;
  if (HAL_UART_Init(&huart2) != HAL_OK)
  {
    Error_Handler();
  }

}

static void MX_GPIO_Init(void)
{
  GPIO_InitTypeDef GPIO_InitStruct = {0};

  /* GPIO Ports Clock Enable */
  __HAL_RCC_GPIOC_CLK_ENABLE();
  __HAL_RCC_GPIOH_CLK_ENABLE();
  __HAL_RCC_GPIOA_CLK_ENABLE();
  __HAL_RCC_GPIOB_CLK_ENABLE();

  /*Configure GPIO pin Output Level */
  HAL_GPIO_WritePin(LD2_GPIO_Port, LD2_Pin, GPIO_PIN_RESET);

  /*Configure GPIO pin : B1_Pin */
  GPIO_InitStruct.Pin = B1_Pin;
  GPIO_InitStruct.Mode = GPIO_MODE_IT_FALLING;
  GPIO_InitStruct.Pull = GPIO_NOPULL;
  HAL_GPIO_Init(B1_GPIO_Port, &GPIO_InitStruct);

  /*Configure GPIO pin : LD2_Pin */
  GPIO_InitStruct.Pin = LD2_Pin;
  GPIO_InitStruct.Mode = GPIO_MODE_OUTPUT_PP;
  GPIO_InitStruct.Pull = GPIO_NOPULL;
  GPIO_InitStruct.Speed = GPIO_SPEED_FREQ_LOW;
  HAL_GPIO_Init(LD2_GPIO_Port, &GPIO_InitStruct);

}

/* USER CODE BEGIN 4 */
/**
  * @brief UART 수신 완료 인터럽트 콜백
  * @param huart 수신 완료 이벤트를 발생시킨 UART 핸들
  * @details USART2에서 1바이트를 수신할 때마다 큐에 적재하고,
  *          다음 바이트 수신을 위해 인터럽트를 즉시 다시 건다.
  */
void HAL_UART_RxCpltCallback(UART_HandleTypeDef *huart)
{
  if (huart->Instance == USART2)
  {
    (void)UART_RxQueuePush(uart_rx_byte);
    (void)HAL_UART_Receive_IT(&huart2, &uart_rx_byte, 1U);
  }
}

/* USER CODE END 4 */

void Error_Handler(void)
{
  __disable_irq();
  while (1)
  {
  }
}
